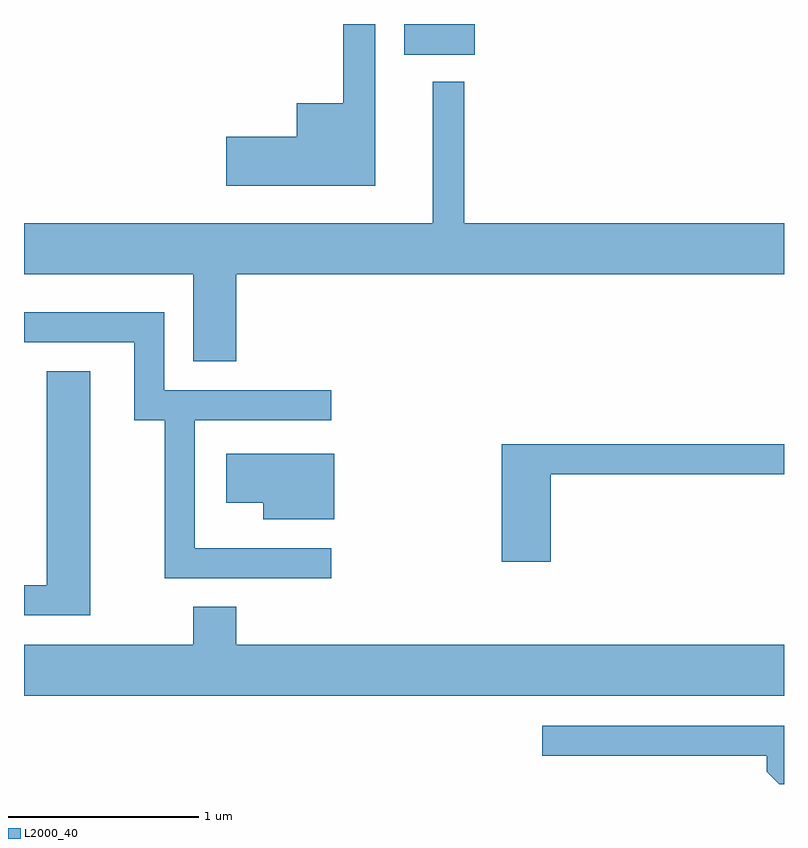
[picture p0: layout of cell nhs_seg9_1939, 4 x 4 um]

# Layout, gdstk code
import gdstk
lib = gdstk.Library(unit=1e-6, precision=1e-09)
def R(c, l, rs):  # rectangles x0, y0, x1, y1
    for r in rs: c.add(gdstk.rectangle(r[:2], r[2:], *l))
def P(c, l, *ps):  # polygons
    for p in ps: c.add(gdstk.Polygon(p, *l))
L2000_40 = (2000, 40)

nhs_seg9_1939 = lib.new_cell('nhs_seg9_1939')
R(nhs_seg9_1939, L2000_40, [(243.611,2026.271,243.984,2026.432)])
P(nhs_seg9_1939, L2000_40, [(243.459,2026.432),(243.291,2026.432),(243.291,2026.014),(243.046,2026.014),(243.046,2025.839),(242.676,2025.839),(242.676,2025.581),(243.459,2025.581)],
  [(241.611,2025.116),(242.501,2025.116),(242.501,2024.656),(242.729,2024.656),(242.729,2025.116),(245.611,2025.116),(245.611,2025.384),(243.929,2025.384),(243.929,2026.128),(243.761,2026.128),(243.761,2025.384),(241.611,2025.384)],
  [(243.228,2023.674),(242.509,2023.674),(242.509,2024.346),(243.228,2024.346),(243.228,2024.504),(242.349,2024.504),(242.349,2024.914),(241.611,2024.914),(241.611,2024.756),(242.191,2024.756),(242.191,2024.346),(242.351,2024.346),(242.351,2023.516),(243.228,2023.516)],
  [(241.959,2024.604),(241.731,2024.604),(241.731,2023.479),(241.611,2023.479),(241.611,2023.321),(241.959,2023.321)],
  [(244.384,2024.061),(245.611,2024.061),(245.611,2024.219),(244.126,2024.219),(244.126,2023.601),(244.384,2023.601)],
  [(243.244,2024.169),(242.676,2024.169),(242.676,2023.911),(242.871,2023.911),(242.871,2023.826),(243.244,2023.826)],
  [(245.611,2023.164),(242.729,2023.164),(242.729,2023.364),(242.501,2023.364),(242.501,2023.164),(241.611,2023.164),(241.611,2022.896),(245.611,2022.896)],
  [(245.611,2022.739),(244.338,2022.739),(244.338,2022.581),(245.521,2022.581),(245.521,2022.497),(245.586,2022.432),(245.611,2022.432)])

lib.write_gds('nhs_seg9_1939.gds')
